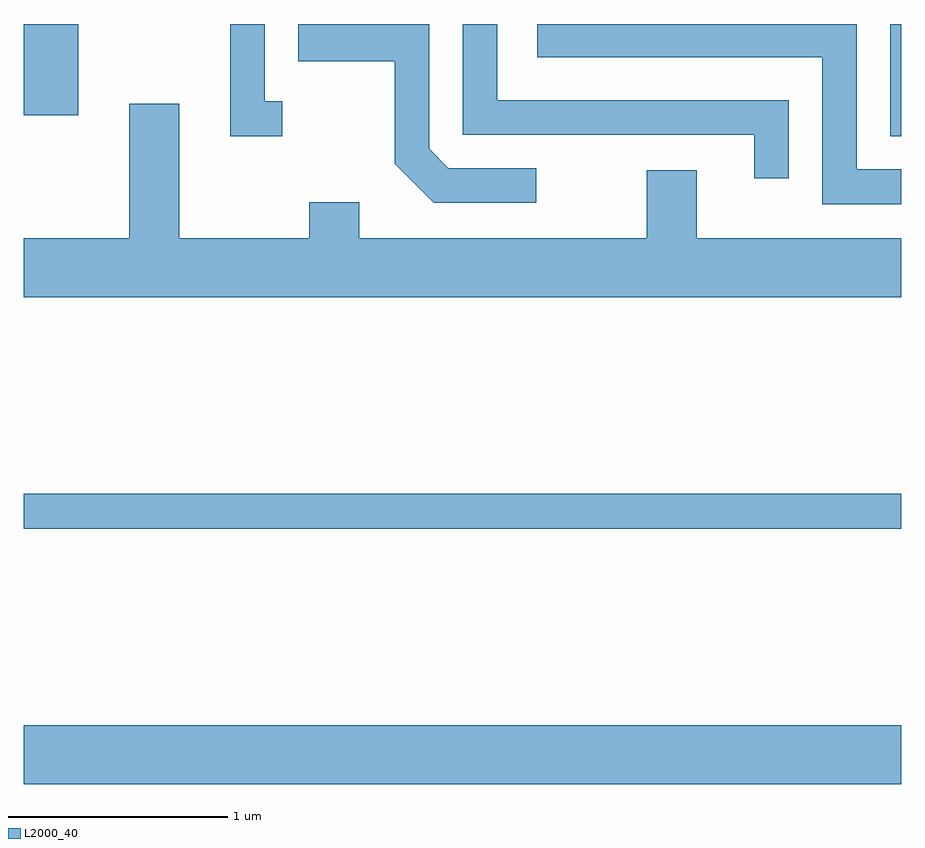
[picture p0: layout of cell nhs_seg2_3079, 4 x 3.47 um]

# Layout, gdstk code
import gdstk
lib = gdstk.Library(unit=1e-6, precision=1e-09)
def R(c, l, rs):  # rectangles x0, y0, x1, y1
    for r in rs: c.add(gdstk.rectangle(r[:2], r[2:], *l))
def P(c, l, *ps):  # polygons
    for p in ps: c.add(gdstk.Polygon(p, *l))
L2000_40 = (2000, 40)

nhs_seg2_3079 = lib.new_cell('nhs_seg2_3079')
R(nhs_seg2_3079, L2000_40, [(275.611,1028.336,279.611,1028.604), (275.611,1029.501,279.611,1029.659), (279.561,1031.291,279.611,1031.802), (275.611,1031.386,275.859,1031.802)])
P(nhs_seg2_3079, L2000_40, [(279.611,1031.139),(279.409,1031.139),(279.409,1031.802),(277.951,1031.802),(277.951,1031.651),(279.251,1031.651),(279.251,1030.981),(279.611,1030.981)],
  [(279.099,1031.454),(277.769,1031.454),(277.769,1031.802),(277.611,1031.802),(277.611,1031.296),(278.941,1031.296),(278.941,1031.098),(279.099,1031.098)],
  [(276.788,1031.449),(276.709,1031.449),(276.709,1031.802),(276.551,1031.802),(276.551,1031.291),(276.788,1031.291)],
  [(277.948,1031.144),(277.547,1031.144),(277.459,1031.232),(277.459,1031.802),(276.861,1031.802),(276.861,1031.631),(277.301,1031.631),(277.301,1031.164),(277.479,1030.986),(277.948,1030.986)],
  [(279.611,1030.824),(278.679,1030.824),(278.679,1031.134),(278.451,1031.134),(278.451,1030.824),(277.139,1030.824),(277.139,1030.989),(276.911,1030.989),(276.911,1030.824),(276.319,1030.824),(276.319,1031.439),(276.091,1031.439),(276.091,1030.824),(275.611,1030.824),(275.611,1030.556),(279.611,1030.556)])

lib.write_gds('nhs_seg2_3079.gds')
